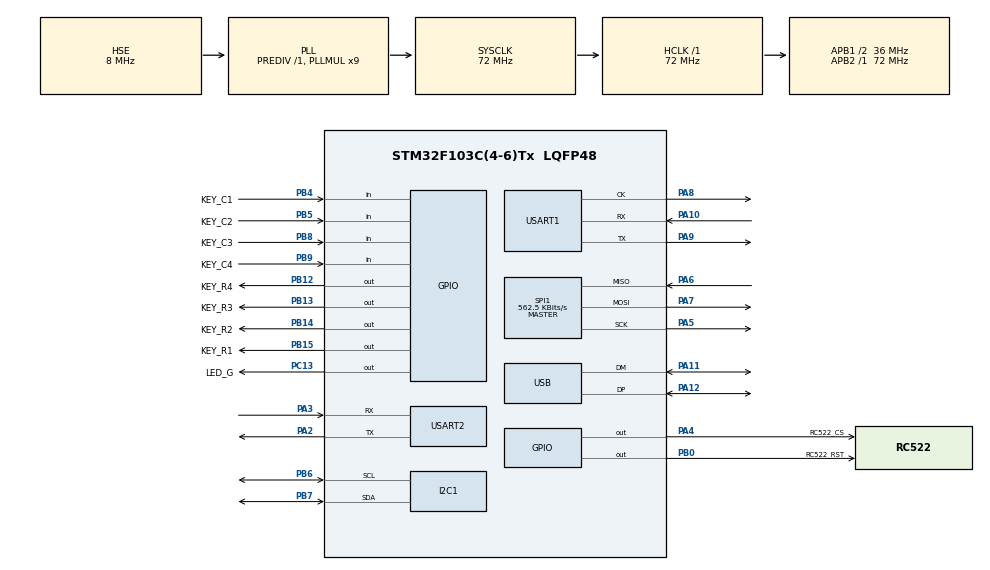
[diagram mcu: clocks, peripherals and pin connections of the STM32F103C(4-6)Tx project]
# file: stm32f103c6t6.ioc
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Mcu.Family=STM32F1
Mcu.Name=STM32F103C(4-6)Tx
Mcu.Package=LQFP48
NVIC.PriorityGroup=NVIC_PRIORITYGROUP_4
PA10.Mode=Synchronous
PA10.Signal=USART1_RX
PA11.Mode=Device
PA11.Signal=USB_DM
PA12.Mode=Device
PA12.Signal=USB_DP
PA13.Mode=Serial_Wire
PA13.Signal=SYS_JTMS-SWDIO
PA14.Mode=Serial_Wire
PA14.Signal=SYS_JTCK-SWCLK
PA2.Mode=Asynchronous
PA2.Signal=USART2_TX
PA3.Mode=Asynchronous
PA3.Signal=USART2_RX
PA4.GPIO_Label=RC522_CS
PA4.Signal=GPIO_Output
PA5.Mode=Full_Duplex_Master
PA5.Signal=SPI1_SCK
PA6.Mode=Full_Duplex_Master
PA6.Signal=SPI1_MISO
PA7.Mode=Full_Duplex_Master
PA7.Signal=SPI1_MOSI
PA8.Mode=Synchronous
PA8.Signal=USART1_CK
PA9.Mode=Synchronous
PA9.Signal=USART1_TX
PB0.GPIO_Label=RC522_RST
PB0.Signal=GPIO_Output
PB12.GPIO_Label=KEY_R4
PB12.GPIO_PuPd=GPIO_PULLUP
PB12.PinState=GPIO_PIN_SET
PB12.Signal=GPIO_Output
PB13.GPIO_Label=KEY_R3
PB13.GPIO_PuPd=GPIO_PULLUP
PB13.PinState=GPIO_PIN_SET
PB13.Signal=GPIO_Output
PB14.GPIO_Label=KEY_R2
PB14.GPIO_PuPd=GPIO_PULLUP
PB14.PinState=GPIO_PIN_SET
PB14.Signal=GPIO_Output
PB15.GPIO_Label=KEY_R1
PB15.GPIO_PuPd=GPIO_PULLUP
PB15.PinState=GPIO_PIN_SET
PB15.Signal=GPIO_Output
PB4.GPIO_Label=KEY_C1
PB4.GPIO_PuPd=GPIO_PULLUP
PB4.Signal=GPIO_Input
PB5.GPIO_Label=KEY_C2
PB5.GPIO_PuPd=GPIO_PULLUP
PB5.Signal=GPIO_Input
PB6.Mode=I2C
PB6.Signal=I2C1_SCL
PB7.Mode=I2C
PB7.Signal=I2C1_SDA
PB8.GPIO_Label=KEY_C3
PB8.GPIO_PuPd=GPIO_PULLUP
PB8.Signal=GPIO_Input
PB9.GPIO_Label=KEY_C4
PB9.GPIO_PuPd=GPIO_PULLUP
PB9.Signal=GPIO_Input
PC13-TAMPER-RTC.GPIO_Label=LED_G
PC13-TAMPER-RTC.PinState=GPIO_PIN_SET
PC13-TAMPER-RTC.Signal=GPIO_Output
PD0-OSC_IN.Mode=HSE-External-Oscillator
PD0-OSC_IN.Signal=RCC_OSC_IN
PD1-OSC_OUT.Mode=HSE-External-Oscillator
PD1-OSC_OUT.Signal=RCC_OSC_OUT
ProjectManager.HeapSize=0x200
ProjectManager.StackSize=0x400
ProjectManager.TargetToolchain=STM32CubeIDE
RCC.AHBFreq_Value=72000000
RCC.APB1CLKDivider=RCC_HCLK_DIV2
RCC.APB1Freq_Value=36000000
RCC.APB1TimFreq_Value=72000000
RCC.APB2Freq_Value=72000000
RCC.APB2TimFreq_Value=72000000
RCC.HCLKFreq_Value=72000000
RCC.PLLMUL=RCC_PLL_MUL9
RCC.PLLSourceVirtual=RCC_PLLSOURCE_HSE
RCC.SYSCLKFreq_VALUE=72000000
RCC.SYSCLKSource=RCC_SYSCLKSOURCE_PLLCLK
RCC.USBFreq_Value=48000000
RCC.USBPrescaler=RCC_USBCLKSOURCE_PLL_DIV1_5
SPI1.BaudRatePrescaler=SPI_BAUDRATEPRESCALER_128
SPI1.CalculateBaudRate=562.5 KBits/s
SPI1.Direction=SPI_DIRECTION_2LINES
SPI1.Mode=SPI_MODE_MASTER
SPI1.VirtualType=VM_MASTER
USART1.VirtualMode=VM_SYNC
USART2.VirtualMode=VM_ASYNC
VP_CRC_VS_CRC.Mode=CRC_Activate
board=custom

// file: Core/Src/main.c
/* USER CODE BEGIN Header */
/**
 ******************************************************************************
 * @file           : main.c
 * @brief          : Main program body
 ******************************************************************************
 * @attention
 *
 * Copyright (c) 2024 STMicroelectronics.
 * All rights reserved.
 *
 * This software is licensed under terms that can be found in the LICENSE file
 * in the root directory of this software component.
 * If no LICENSE file comes with this software, it is provided AS-IS.
 *
 ******************************************************************************
 */
/* USER CODE END Header */
#include "main.h"
#include "crc.h"
#include "i2c.h"
#include "spi.h"
#include "usart.h"
#include "usb.h"
#include "gpio.h"

/* USER CODE BEGIN Includes */
#include <stdio.h>
#include <string.h>
#include "RC522.h"
#include "keyboard.h"
#include "wordlist.h"
// #include "wordlist_bip39.h"
// #include "wordlist_slip39.h"

/* USER CODE END Includes */

void SystemClock_Config(void);

int main(void)
{

  /* MCU Configuration--------------------------------------------------------*/

  /* Reset of all peripherals, Initializes the Flash interface and the Systick. */
  HAL_Init();

  /* Configure the system clock */
  SystemClock_Config();

  /* Initialize all configured peripherals */
  MX_GPIO_Init();
  MX_SPI1_Init();
  MX_CRC_Init();
  MX_I2C1_Init();
  MX_USART1_Init();
  MX_USART2_UART_Init();
  MX_USB_PCD_Init();
  /* USER CODE BEGIN 2 */
  PCD_Init(); // RC522初始�????

  /* USER CODE END 2 */

  /* Infinite loop */
  /* USER CODE BEGIN WHILE */
  uint8_t ucArray_ID[4];
  uint8_t RxBuffer[4];
  char Card_ID[9];
  uint8_t AuthKeyValue[] = {0xFF, 0xFF, 0xFF, 0xFF, 0xFF, 0xFF}; // 密钥
  uint8_t ucStatusReturn;                                        /*返回状�??*/

  // 初始化数字模式及空字符

  KeyMethod keyMethod = {Alphabetic,&keyNULL,FKEY_NULL,{}};
//  WordListMethod wordListMethod = {SLIP39,S12,0,{},0,{},0};
//  WordListMethod wordListMethod = {};
  int wordListIndex = 0;

  while (1)
  {

    /* USER CODE END WHILE */

    /* USER CODE BEGIN 3 */
    keyMethod.lastKey = keyboard_scan();
    if (keyMethod.lastKey != &keyNULL)
    {
      // 新按键
      printf("Pressed key: %s\n", keyMethod.lastKey->name);
      keyboard_process(&keyMethod);
      printf("keyboard_process keyValue: %s\n", keyMethod.keyValue);
      wordListIndex = wordlist_fit(keyMethod);
      printf("word : %s\n", wordlist_slip39[wordListIndex]);
    }
    else
    {
      printf("No key pressed.\n");
    }

    ucStatusReturn = PCD_Request(PICC_REQALL, RxBuffer); // 返回值为0，代表寻卡成功；并把卡类型存入RxBuffer�????

    if (ucStatusReturn == PCD_OK)
    { /*寻卡*/
      uint16_t cardType = (RxBuffer[0] << 8) | RxBuffer[1];
      printf("卡类�????: 0x%04X\r\n", cardType); // ATQA
      if (PCD_Anticoll(RxBuffer) == PCD_OK)
      { // 防冲撞，完成这部就可以简单地 读取卡号，本次不涉及更高层次应用

        memcpy(ucArray_ID, RxBuffer, sizeof(RxBuffer)); // 清空字符�????,这里要清除RxBuffer才行
        sprintf(Card_ID, "%02X%02X%02X%02X", RxBuffer[0], RxBuffer[1], RxBuffer[2], RxBuffer[3]);
        printf("ID=%s\r\n", Card_ID);
        PCD_Select(ucArray_ID); // 选卡

        uint8_t ucComMF522Buf_read[16];
        for (uint8_t b = 0; b < 16; b++)
        {
          if (PCD_AuthState(PICC_AUTHENT1B, b, AuthKeyValue, ucArray_ID) == PCD_OK)
          {
            printf("�????验密码成功\r\n");
            if (PCD_ReadBlock(b, ucComMF522Buf_read) == PCD_OK)
            {
              printf("读取成功");
            }
            else
            {
              printf("读取失败");
            }

            //          char *pData = "hello";
            //          uint8_t ucComMF522Buf[16];
            //          /* 拷贝 pData 里的 Len 个字符到 ucComMF522Buf */
            //          for (uint8_t j = 0; j < 16; j++)
            //          {
            //            if (j < strlen(pData))
            //              ucComMF522Buf[j] = pData[j];
            //            else
            //              ucComMF522Buf[j] = 0; // 16个字节若是未填满的字节置0
            //          }
            //          if (PCD_WriteBlock(0x02, ucComMF522Buf) != PCD_OK)
            //          {
            //            printf("写入数据到数据块失败\r\n");
            //          }
            //          else{
            //            printf( "写入数据成功！\r\n" );
            //          }
          }
          else
          {
            printf("�????验密码失败\r\n");
          }
        }
        HAL_GPIO_WritePin(LED_G_GPIO_Port, LED_G_Pin, GPIO_PIN_RESET); // LED1�????
      }
    }
    PCD_Halt();
    HAL_Delay(20);
    HAL_GPIO_WritePin(LED_G_GPIO_Port, LED_G_Pin, GPIO_PIN_SET); // LED1�????
  }
  /* USER CODE END 3 */
}

void SystemClock_Config(void)
{
  RCC_OscInitTypeDef RCC_OscInitStruct = {0};
  RCC_ClkInitTypeDef RCC_ClkInitStruct = {0};
  RCC_PeriphCLKInitTypeDef PeriphClkInit = {0};

  /** Initializes the RCC Oscillators according to the specified parameters
   * in the RCC_OscInitTypeDef structure.
   */
  RCC_OscInitStruct.OscillatorType = RCC_OSCILLATORTYPE_HSE;
  RCC_OscInitStruct.HSEState = RCC_HSE_ON;
  RCC_OscInitStruct.HSEPredivValue = RCC_HSE_PREDIV_DIV1;
  RCC_OscInitStruct.HSIState = RCC_HSI_ON;
  RCC_OscInitStruct.PLL.PLLState = RCC_PLL_ON;
  RCC_OscInitStruct.PLL.PLLSource = RCC_PLLSOURCE_HSE;
  RCC_OscInitStruct.PLL.PLLMUL = RCC_PLL_MUL9;
  if (HAL_RCC_OscConfig(&RCC_OscInitStruct) != HAL_OK)
  {
    Error_Handler();
  }

  /** Initializes the CPU, AHB and APB buses clocks
   */
  RCC_ClkInitStruct.ClockType = RCC_CLOCKTYPE_HCLK | RCC_CLOCKTYPE_SYSCLK | RCC_CLOCKTYPE_PCLK1 | RCC_CLOCKTYPE_PCLK2;
  RCC_ClkInitStruct.SYSCLKSource = RCC_SYSCLKSOURCE_PLLCLK;
  RCC_ClkInitStruct.AHBCLKDivider = RCC_SYSCLK_DIV1;
  RCC_ClkInitStruct.APB1CLKDivider = RCC_HCLK_DIV2;
  RCC_ClkInitStruct.APB2CLKDivider = RCC_HCLK_DIV1;

  if (HAL_RCC_ClockConfig(&RCC_ClkInitStruct, FLASH_LATENCY_2) != HAL_OK)
  {
    Error_Handler();
  }
  PeriphClkInit.PeriphClockSelection = RCC_PERIPHCLK_USB;
  PeriphClkInit.UsbClockSelection = RCC_USBCLKSOURCE_PLL_DIV1_5;
  if (HAL_RCCEx_PeriphCLKConfig(&PeriphClkInit) != HAL_OK)
  {
    Error_Handler();
  }
}

void Error_Handler(void)
{
  __disable_irq();
  while (1)
  {
  }
}
